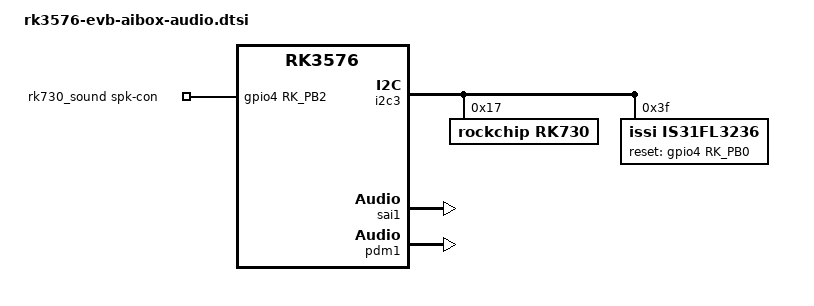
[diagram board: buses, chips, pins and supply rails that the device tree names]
// SPDX-License-Identifier: (GPL-2.0+ OR MIT)
/*
 * Copyright (c) 2026 Rockchip Electronics Co., Ltd.
 *
 */

/ {
	pdmics: dummy-codec {
		status = "okay";
		compatible = "rockchip,dummy-codec";
		#sound-dai-cells = <0>;
	};

	rk730_sound: rk730-sound {
		status = "okay";
		compatible = "rockchip,multicodecs-card";
		rockchip,card-name = "rockchip-rk730";
		spk-con-gpio = <&gpio4 RK_PB2 GPIO_ACTIVE_HIGH>;
		rockchip,pre-power-on-delay-ms = <30>;
		rockchip,post-power-down-delay-ms = <40>;
		rockchip,format = "i2s";
		rockchip,mclk-fs = <256>;
		rockchip,cpu = <&sai1>;
		rockchip,codec = <&rk730>;
		rockchip,audio-routing =
				"Headphone", "LOUT1",
				"Headphone", "ROUT1",
				"Speaker", "LOUT2",
				"Speaker", "ROUT2",
				"Headphone", "Headphone Power",
				"Headphone", "Headphone Power",
				"Speaker", "Speaker Power",
				"Speaker", "Speaker Power",
				"MIC2", "Main Mic",
				"MIC1", "Headset Mic";
	};

	pdm_mic_array: pdm-mic-array {
		status = "okay";
		compatible = "simple-audio-card";
		simple-audio-card,name = "rockchip,dmic";
		simple-audio-card,bitclock-inversion;
		simple-audio-card,cpu {
			sound-dai = <&pdm1>;
		};
		simple-audio-card,codec {
			sound-dai = <&pdmics>;
		};
	};
};

&i2c3 {
	status = "okay";

	rk730: rk730@17 {
		status = "okay";
		#sound-dai-cells = <0>;
		compatible = "rockchip,rk730";
		reg = <0x17>;
		clocks = <&mclkout_sai1>;
		clock-names = "mclk";
		assigned-clocks = <&mclkout_sai1>;
		assigned-clock-rates = <12288000>;
		pinctrl-names = "default";
		pinctrl-0 = <&sai1m0_mclk>;
	};

	is31fl3236: led-controller@3f {
		compatible = "issi,is31fl3236";
		reg = <0x3f>;
		#address-cells = <1>;
		#size-cells = <0>;
		reset-gpios = <&gpio4 RK_PB0 GPIO_ACTIVE_HIGH>;
		status = "okay";

		led1: led@1 {
			label = "led1";
			reg = <1>;
			led-max-microamp = <10000>;
			linux,default-trigger = "timer";
			linux,default-trigger-delay-ms = <0>;
			linux,blink-delay-on-ms = <100>;
			linux,blink-delay-off-ms = <1200>;
		};

		led2: led@2 {
			label = "led2";
			reg = <2>;
			led-max-microamp = <10000>;
			linux,default-trigger = "timer";
			linux,default-trigger-delay-ms = <0>;
			linux,blink-delay-on-ms = <100>;
			linux,blink-delay-off-ms = <1200>;
		};

		led3: led@3 {
			label = "led3";
			reg = <3>;
			led-max-microamp = <10000>;
			linux,default-trigger = "default-on";
		};

		led4: led@4 {
			label = "led4";
			reg = <4>;
			led-max-microamp = <10000>;
			linux,default-trigger = "timer";
			linux,default-trigger-delay-ms = <100>;
			linux,blink-delay-on-ms = <100>;
			linux,blink-delay-off-ms = <1200>;
		};

		led5: led@5 {
			label = "led5";
			reg = <5>;
			led-max-microamp = <10000>;
			linux,default-trigger = "timer";
			linux,default-trigger-delay-ms = <100>;
			linux,blink-delay-on-ms = <100>;
			linux,blink-delay-off-ms = <1200>;
		};

		led6: led@6 {
			label = "led6";
			reg = <6>;
			led-max-microamp = <10000>;
			linux,default-trigger = "default-on";
		};

		led7: led@7 {
			label = "led7";
			reg = <7>;
			led-max-microamp = <10000>;
			linux,default-trigger = "timer";
			linux,default-trigger-delay-ms = <200>;
			linux,blink-delay-on-ms = <100>;
			linux,blink-delay-off-ms = <1200>;
		};

		led8: led@8 {
			label = "led8";
			reg = <8>;
			led-max-microamp = <10000>;
			linux,default-trigger = "timer";
			linux,default-trigger-delay-ms = <200>;
			linux,blink-delay-on-ms = <100>;
			linux,blink-delay-off-ms = <1200>;
		};

		led9: led@9 {
			label = "led9";
			reg = <9>;
			led-max-microamp = <10000>;
			linux,default-trigger = "default-on";
		};

		led10: led@10 {
			label = "led10";
			reg = <10>;
			led-max-microamp = <10000>;
			linux,default-trigger = "timer";
			linux,default-trigger-delay-ms = <300>;
			linux,blink-delay-on-ms = <100>;
			linux,blink-delay-off-ms = <1200>;
		};

		led11: led@11 {
			label = "led11";
			reg = <11>;
			led-max-microamp = <10000>;
			linux,default-trigger = "timer";
			linux,default-trigger-delay-ms = <300>;
			linux,blink-delay-on-ms = <100>;
			linux,blink-delay-off-ms = <1200>;
		};

		led12: led@12 {
			label = "led12";
			reg = <12>;
			led-max-microamp = <10000>;
			linux,default-trigger = "default-on";
		};

		led13: led@13 {
			label = "led13";
			reg = <13>;
			led-max-microamp = <10000>;
			linux,default-trigger = "timer";
			linux,default-trigger-delay-ms = <400>;
			linux,blink-delay-on-ms = <100>;
			linux,blink-delay-off-ms = <1200>;
		};

		led14: led@14 {
			label = "led14";
			reg = <14>;
			led-max-microamp = <10000>;
			linux,default-trigger = "timer";
			linux,default-trigger-delay-ms = <400>;
			linux,blink-delay-on-ms = <100>;
			linux,blink-delay-off-ms = <1200>;
		};

		led15: led@15 {
			label = "led15";
			reg = <15>;
			led-max-microamp = <10000>;
			linux,default-trigger = "default-on";
		};

		led16: led@16 {
			label = "led16";
			reg = <16>;
			led-max-microamp = <10000>;
			linux,default-trigger = "timer";
			linux,default-trigger-delay-ms = <500>;
			linux,blink-delay-on-ms = <100>;
			linux,blink-delay-off-ms = <1200>;
		};

		led17: led@17 {
			label = "led17";
			reg = <17>;
			led-max-microamp = <10000>;
			linux,default-trigger = "timer";
			linux,default-trigger-delay-ms = <500>;
			linux,blink-delay-on-ms = <100>;
			linux,blink-delay-off-ms = <1200>;
		};

		led18: led@18 {
			label = "led18";
			reg = <18>;
			led-max-microamp = <10000>;
			linux,default-trigger = "default-on";
		};

		led19: led@19 {
			label = "led19";
			reg = <19>;
			led-max-microamp = <10000>;
			linux,default-trigger = "timer";
			linux,default-trigger-delay-ms = <600>;
			linux,blink-delay-on-ms = <100>;
			linux,blink-delay-off-ms = <1200>;
		};

		led20: led@20 {
			label = "led20";
			reg = <20>;
			led-max-microamp = <10000>;
			linux,default-trigger = "timer";
			linux,default-trigger-delay-ms = <600>;
			linux,blink-delay-on-ms = <100>;
			linux,blink-delay-off-ms = <1200>;
		};

		led21: led@21 {
			label = "led21";
			reg = <21>;
			led-max-microamp = <10000>;
			linux,default-trigger = "default-on";
		};

		led22: led@22 {
			label = "led22";
			reg = <22>;
			led-max-microamp = <10000>;
			linux,default-trigger = "timer";
			linux,default-trigger-delay-ms = <700>;
			linux,blink-delay-on-ms = <100>;
			linux,blink-delay-off-ms = <1200>;
		};

		led23: led@23 {
			label = "led23";
			reg = <23>;
			led-max-microamp = <10000>;
			linux,default-trigger = "timer";
			linux,default-trigger-delay-ms = <700>;
			linux,blink-delay-on-ms = <100>;
			linux,blink-delay-off-ms = <1200>;
		};

		led24: led@24 {
			label = "led24";
			reg = <24>;
			led-max-microamp = <10000>;
			linux,default-trigger = "default-on";
		};

		led25: led@25 {
			label = "led25";
			reg = <25>;
			led-max-microamp = <10000>;
			linux,default-trigger = "timer";
			linux,default-trigger-delay-ms = <800>;
			linux,blink-delay-on-ms = <100>;
			linux,blink-delay-off-ms = <1200>;
		};

		led26: led@26 {
			label = "led26";
			reg = <26>;
			led-max-microamp = <10000>;
			linux,default-trigger = "timer";
			linux,default-trigger-delay-ms = <800>;
			linux,blink-delay-on-ms = <100>;
			linux,blink-delay-off-ms = <1200>;
		};

		led27: led@27 {
			label = "led27";
			reg = <27>;
			led-max-microamp = <10000>;
			linux,default-trigger = "default-on";
		};

		led28: led@28 {
			label = "led28";
			reg = <28>;
			led-max-microamp = <10000>;
			linux,default-trigger = "timer";
			linux,default-trigger-delay-ms = <900>;
			linux,blink-delay-on-ms = <100>;
			linux,blink-delay-off-ms = <1200>;
		};

		led29: led@29 {
			label = "led29";
			reg = <29>;
			led-max-microamp = <10000>;
			linux,default-trigger = "timer";
			linux,default-trigger-delay-ms = <900>;
			linux,blink-delay-on-ms = <100>;
			linux,blink-delay-off-ms = <1200>;
		};

		led30: led@30 {
			label = "led30";
			reg = <30>;
			led-max-microamp = <10000>;
			linux,default-trigger = "default-on";
		};

		led31: led@31 {
			label = "led31";
			reg = <31>;
			led-max-microamp = <10000>;
			linux,default-trigger = "timer";
			linux,default-trigger-delay-ms = <1000>;
			linux,blink-delay-on-ms = <100>;
			linux,blink-delay-off-ms = <1200>;
		};

		led32: led@32 {
			label = "led32";
			reg = <32>;
			led-max-microamp = <10000>;
			linux,default-trigger = "timer";
			linux,default-trigger-delay-ms = <1000>;
			linux,blink-delay-on-ms = <100>;
			linux,blink-delay-off-ms = <1200>;
		};

		led33: led@33 {
			label = "led33";
			reg = <33>;
			led-max-microamp = <10000>;
			linux,default-trigger = "default-on";
		};

		led34: led@34 {
			label = "led34";
			reg = <34>;
			led-max-microamp = <10000>;
			linux,default-trigger = "timer";
			linux,default-trigger-delay-ms = <1100>;
			linux,blink-delay-on-ms = <100>;
			linux,blink-delay-off-ms = <1200>;
		};

		led35: led@35 {
			label = "led35";
			reg = <35>;
			led-max-microamp = <10000>;
			linux,default-trigger = "timer";
			linux,default-trigger-delay-ms = <1100>;
			linux,blink-delay-on-ms = <100>;
			linux,blink-delay-off-ms = <1200>;
		};

		led36: led@36 {
			label = "led36";
			reg = <36>;
			led-max-microamp = <10000>;
			linux,default-trigger = "default-on";
		};
	};
};

&sai1 {
	status = "okay";
	rockchip,tdm-tx-lanes = <1>;
	rockchip,tdm-rx-lanes = <1>;
	pinctrl-names = "default";
	pinctrl-0 = <&sai1m0_lrck
		&sai1m0_sclk
		&sai1m0_sdi0
		&sai1m0_sdo0>;
};

&pdm1 {
	status = "okay";
	pinctrl-names = "default", "idle", "clk";
	pinctrl-0 = <&pdm1m0_sdi0
		&pdm1m0_sdi1
		&pdm1m0_sdi2
		&pdm1m0_sdi3>;
	pinctrl-1 = <&pdm1m0_clk0_idle
		&pdm1m0_clk1_idle>;
	pinctrl-2 = <&pdm1m0_clk0
		&pdm1m0_clk1>;
};

